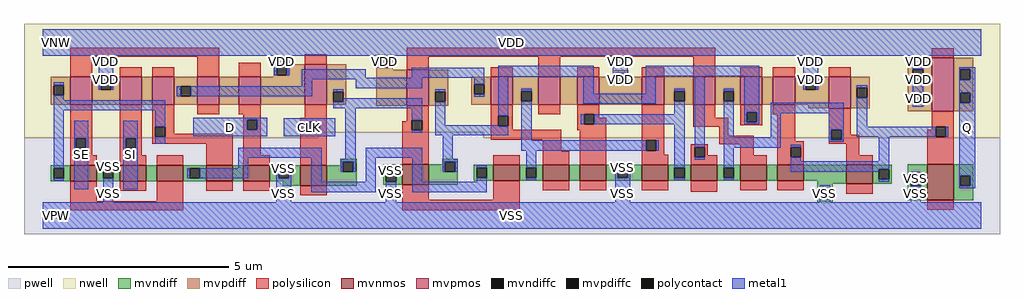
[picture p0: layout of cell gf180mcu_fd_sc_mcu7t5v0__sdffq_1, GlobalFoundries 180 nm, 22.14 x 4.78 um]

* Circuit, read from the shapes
.subckt gf180mcu_fd_sc_mcu7t5v0__sdffq_1 D SE SI CLK Q VDD VNW VPW VSS
XM1 VSS SE n1 VPW nfet_06v0 w=0.36u l=0.6u
XM2 n2 SI VSS VPW nfet_06v0 w=0.36u l=0.6u
XM3 n3 SE n2 VPW nfet_06v0 w=0.36u l=0.6u
XM4 n4 n1 n3 VPW nfet_06v0 w=0.36u l=0.6u
XM5 VSS D n4 VPW nfet_06v0 w=0.36u l=0.6u
XM6 n5 CLK VSS VPW nfet_06v0 w=0.465u l=0.6u
XM7 n6 n5 VSS VPW nfet_06v0 w=0.465u l=0.6u
XM8 n7 n5 n3 VPW nfet_06v0 w=0.36u l=0.6u
XM9 n8 n6 n7 VPW nfet_06v0 w=0.36u l=0.6u
XM10 VSS n9 n8 VPW nfet_06v0 w=0.36u l=0.6u
XM11 n9 n7 VSS VPW nfet_06v0 w=0.36u l=0.6u
XM12 n10 n6 n9 VPW nfet_06v0 w=0.36u l=0.6u
XM13 n11 n5 n10 VPW nfet_06v0 w=0.36u l=0.6u
XM14 VSS n12 n11 VPW nfet_06v0 w=0.36u l=0.6u
XM15 n12 n10 VSS VPW nfet_06v0 w=0.435u l=0.6u
XM16 Q n12 VSS VPW nfet_06v0 w=0.815u l=0.6u
XM17 VDD SE n1 VNW pfet_06v0 w=0.63u l=0.5u
XM18 n13 SI VDD VNW pfet_06v0 w=0.63u l=0.5u
XM19 n14 n1 n13 VNW pfet_06v0 w=0.63u l=0.5u
XM20 n15 SE n14 VNW pfet_06v0 w=0.63u l=0.5u
XM21 VDD D n15 VNW pfet_06v0 w=0.63u l=0.5u
XM22 n5 CLK VDD VNW pfet_06v0 w=0.92u l=0.5u
XM23 n6 n5 VDD VNW pfet_06v0 w=0.815u l=0.5u
XM24 n7 n6 n14 VNW pfet_06v0 w=0.63u l=0.5u
XM25 n16 n5 n7 VNW pfet_06v0 w=0.63u l=0.5u
XM26 VDD n9 n16 VNW pfet_06v0 w=0.63u l=0.5u
XM27 n9 n7 VDD VNW pfet_06v0 w=0.63u l=0.51u
XM28 n10 n5 n9 VNW pfet_06v0 w=0.63u l=0.5u
XM29 n17 n6 n10 VNW pfet_06v0 w=0.63u l=0.5u
XM30 VDD n12 n17 VNW pfet_06v0 w=0.63u l=0.5u
XM31 n12 n10 VDD VNW pfet_06v0 w=0.705u l=0.5u
XM32 Q n12 VDD VNW pfet_06v0 w=1.215u l=0.5u
.ends

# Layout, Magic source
magic
tech gf180mcuD
magscale 1 10
<< nwell >>
rect -86 377 4342 870
rect -86 352 1249 377
rect 2000 352 4342 377
<< pwell >>
rect 1249 352 2000 377
rect -86 -86 4342 352
<< mvnmos >>
rect 124 156 244 228
rect 348 156 468 228
rect 516 156 636 228
rect 740 156 860 228
rect 908 156 1028 228
rect 1168 135 1288 228
rect 1631 139 1751 232
rect 2043 158 2163 230
rect 2267 158 2387 230
rect 2435 158 2555 230
rect 2716 158 2836 230
rect 2940 158 3060 230
rect 3164 158 3284 230
rect 3332 158 3452 230
rect 3644 143 3764 230
rect 4012 69 4132 232
<< mvpmos >>
rect 124 502 224 628
rect 348 502 448 628
rect 496 502 596 628
rect 700 502 800 628
rect 888 502 988 628
rect 1188 502 1288 686
rect 1651 497 1751 660
rect 2032 502 2132 628
rect 2246 502 2346 628
rect 2424 502 2524 628
rect 2716 502 2818 628
rect 2950 502 3050 628
rect 3164 502 3264 628
rect 3312 502 3412 628
rect 3564 487 3664 628
rect 4032 472 4132 715
<< mvndiff >>
rect 1348 244 1424 257
rect 1348 228 1361 244
rect 36 215 124 228
rect 36 169 49 215
rect 95 169 124 215
rect 36 156 124 169
rect 244 215 348 228
rect 244 169 273 215
rect 319 169 348 215
rect 244 156 348 169
rect 468 156 516 228
rect 636 215 740 228
rect 636 169 665 215
rect 711 169 740 215
rect 636 156 740 169
rect 860 156 908 228
rect 1028 215 1168 228
rect 1028 169 1070 215
rect 1116 169 1168 215
rect 1028 156 1168 169
rect 1088 135 1168 156
rect 1288 198 1361 228
rect 1407 198 1424 244
rect 1811 244 1883 257
rect 1811 232 1824 244
rect 1288 135 1424 198
rect 1543 198 1631 232
rect 1543 152 1556 198
rect 1602 152 1631 198
rect 1543 139 1631 152
rect 1751 198 1824 232
rect 1870 198 1883 244
rect 1751 139 1883 198
rect 1955 217 2043 230
rect 1955 171 1968 217
rect 2014 171 2043 217
rect 1955 158 2043 171
rect 2163 217 2267 230
rect 2163 171 2192 217
rect 2238 171 2267 217
rect 2163 158 2267 171
rect 2387 158 2435 230
rect 2555 217 2716 230
rect 2555 171 2607 217
rect 2653 171 2716 217
rect 2555 158 2716 171
rect 2836 217 2940 230
rect 2836 171 2865 217
rect 2911 171 2940 217
rect 2836 158 2940 171
rect 3060 217 3164 230
rect 3060 171 3089 217
rect 3135 171 3164 217
rect 3060 158 3164 171
rect 3284 158 3332 230
rect 3452 158 3644 230
rect 3512 143 3644 158
rect 3764 209 3852 230
rect 3764 163 3793 209
rect 3839 163 3852 209
rect 3764 143 3852 163
rect 3924 180 4012 232
rect 3512 119 3584 143
rect 3512 73 3525 119
rect 3571 73 3584 119
rect 3924 134 3937 180
rect 3983 134 4012 180
rect 3512 60 3584 73
rect 3924 69 4012 134
rect 4132 180 4220 232
rect 4132 134 4161 180
rect 4207 134 4220 180
rect 4132 69 4220 134
<< mvpdiff >>
rect 1048 686 1120 701
rect 1512 716 1586 729
rect 1048 682 1188 686
rect 1048 636 1061 682
rect 1107 636 1188 682
rect 1048 628 1188 636
rect 36 590 124 628
rect 36 544 49 590
rect 95 544 124 590
rect 36 502 124 544
rect 224 615 348 628
rect 224 569 263 615
rect 309 569 348 615
rect 224 502 348 569
rect 448 502 496 628
rect 596 587 700 628
rect 596 541 625 587
rect 671 541 700 587
rect 596 502 700 541
rect 800 502 888 628
rect 988 502 1188 628
rect 1288 561 1376 686
rect 1288 515 1317 561
rect 1363 515 1376 561
rect 1288 502 1376 515
rect 1512 670 1525 716
rect 1571 670 1586 716
rect 1512 660 1586 670
rect 1512 497 1651 660
rect 1751 561 1839 660
rect 2584 645 2656 658
rect 2584 628 2597 645
rect 1751 515 1780 561
rect 1826 515 1839 561
rect 1751 497 1839 515
rect 1944 595 2032 628
rect 1944 549 1957 595
rect 2003 549 2032 595
rect 1944 502 2032 549
rect 2132 563 2246 628
rect 2132 517 2171 563
rect 2217 517 2246 563
rect 2132 502 2246 517
rect 2346 502 2424 628
rect 2524 599 2597 628
rect 2643 628 2656 645
rect 3924 662 4032 715
rect 2643 599 2716 628
rect 2524 502 2716 599
rect 2818 563 2950 628
rect 2818 517 2865 563
rect 2911 517 2950 563
rect 2818 502 2950 517
rect 3050 563 3164 628
rect 3050 517 3089 563
rect 3135 517 3164 563
rect 3050 502 3164 517
rect 3264 502 3312 628
rect 3412 615 3564 628
rect 3412 569 3461 615
rect 3507 569 3564 615
rect 3412 502 3564 569
rect 3472 487 3564 502
rect 3664 579 3752 628
rect 3664 533 3693 579
rect 3739 533 3752 579
rect 3664 487 3752 533
rect 3924 616 3947 662
rect 3993 616 4032 662
rect 3924 557 4032 616
rect 3924 511 3947 557
rect 3993 511 4032 557
rect 3924 472 4032 511
rect 4132 662 4220 715
rect 4132 616 4161 662
rect 4207 616 4220 662
rect 4132 557 4220 616
rect 4132 511 4161 557
rect 4207 511 4220 557
rect 4132 472 4220 511
<< mvndiffc >>
rect 49 169 95 215
rect 273 169 319 215
rect 665 169 711 215
rect 1070 169 1116 215
rect 1361 198 1407 244
rect 1556 152 1602 198
rect 1824 198 1870 244
rect 1968 171 2014 217
rect 2192 171 2238 217
rect 2607 171 2653 217
rect 2865 171 2911 217
rect 3089 171 3135 217
rect 3793 163 3839 209
rect 3525 73 3571 119
rect 3937 134 3983 180
rect 4161 134 4207 180
<< mvpdiffc >>
rect 1061 636 1107 682
rect 49 544 95 590
rect 263 569 309 615
rect 625 541 671 587
rect 1317 515 1363 561
rect 1525 670 1571 716
rect 1780 515 1826 561
rect 1957 549 2003 595
rect 2171 517 2217 563
rect 2597 599 2643 645
rect 2865 517 2911 563
rect 3089 517 3135 563
rect 3461 569 3507 615
rect 3693 533 3739 579
rect 3947 616 3993 662
rect 3947 511 3993 557
rect 4161 616 4207 662
rect 4161 511 4207 557
<< polysilicon >>
rect 124 720 800 760
rect 124 628 224 720
rect 348 628 448 672
rect 496 628 596 672
rect 700 628 800 720
rect 888 628 988 692
rect 1188 686 1288 730
rect 1651 720 3050 760
rect 1651 660 1751 720
rect 124 351 224 502
rect 124 305 149 351
rect 195 305 224 351
rect 124 272 224 305
rect 348 351 448 502
rect 348 305 375 351
rect 421 305 448 351
rect 496 403 596 502
rect 700 458 800 502
rect 888 458 988 502
rect 496 357 509 403
rect 555 371 596 403
rect 908 434 988 458
rect 1188 442 1288 502
rect 2032 628 2132 672
rect 2246 628 2346 720
rect 2424 628 2524 672
rect 2716 628 2818 672
rect 2950 628 3050 720
rect 4032 715 4132 759
rect 3164 628 3264 672
rect 3312 628 3412 672
rect 3564 628 3664 672
rect 908 388 926 434
rect 972 388 988 434
rect 555 357 860 371
rect 496 325 860 357
rect 348 272 448 305
rect 124 228 244 272
rect 348 228 468 272
rect 516 228 636 272
rect 740 228 860 325
rect 908 272 988 388
rect 1168 424 1288 442
rect 1651 432 1751 497
rect 1651 427 1674 432
rect 1168 378 1209 424
rect 1255 378 1288 424
rect 908 228 1028 272
rect 1168 228 1288 378
rect 1631 386 1674 427
rect 1720 386 1751 432
rect 124 64 244 156
rect 348 112 468 156
rect 516 64 636 156
rect 740 112 860 156
rect 908 112 1028 156
rect 1631 232 1751 386
rect 2032 451 2132 502
rect 2246 458 2346 502
rect 2424 460 2524 502
rect 2032 405 2065 451
rect 2111 405 2132 451
rect 2032 389 2132 405
rect 2424 414 2455 460
rect 2501 442 2524 460
rect 2501 414 2555 442
rect 2032 343 2352 389
rect 2424 386 2555 414
rect 2267 292 2352 343
rect 2043 230 2163 274
rect 2267 230 2387 292
rect 2435 230 2555 386
rect 2716 340 2818 502
rect 2950 442 3050 502
rect 3164 469 3264 502
rect 2950 402 3109 442
rect 3164 423 3192 469
rect 3238 423 3264 469
rect 3312 458 3412 502
rect 3164 410 3264 423
rect 2716 294 2736 340
rect 2782 294 2818 340
rect 3068 362 3109 402
rect 3068 322 3224 362
rect 2716 276 2818 294
rect 2940 309 3016 322
rect 2716 230 2836 276
rect 2940 263 2957 309
rect 3003 274 3016 309
rect 3164 274 3224 322
rect 3332 337 3412 458
rect 3564 389 3664 487
rect 4032 402 4132 472
rect 4032 389 4051 402
rect 3564 343 3577 389
rect 3623 365 3664 389
rect 3623 343 3704 365
rect 3332 309 3452 337
rect 3564 325 3704 343
rect 3003 263 3060 274
rect 2940 230 3060 263
rect 3164 230 3284 274
rect 3332 263 3393 309
rect 3439 263 3452 309
rect 3332 230 3452 263
rect 3644 274 3704 325
rect 4012 356 4051 389
rect 4097 356 4132 402
rect 3644 230 3764 274
rect 4012 232 4132 356
rect 1168 91 1288 135
rect 124 24 636 64
rect 1631 70 1751 139
rect 2043 70 2163 158
rect 2267 114 2387 158
rect 2435 114 2555 158
rect 2716 114 2836 158
rect 2940 107 3060 158
rect 3164 114 3284 158
rect 3332 114 3452 158
rect 1631 24 2163 70
rect 3644 99 3764 143
rect 4012 25 4132 69
<< polycontact >>
rect 149 305 195 351
rect 375 305 421 351
rect 509 357 555 403
rect 926 388 972 434
rect 1209 378 1255 424
rect 1674 386 1720 432
rect 2065 405 2111 451
rect 2455 414 2501 460
rect 3192 423 3238 469
rect 2736 294 2782 340
rect 2957 263 3003 309
rect 3577 343 3623 389
rect 3393 263 3439 309
rect 4051 356 4097 402
<< metal1 >>
rect 0 724 4256 844
rect 252 615 320 724
rect 1050 682 1118 724
rect 1050 636 1061 682
rect 1107 636 1118 682
rect 1514 716 1582 724
rect 1514 670 1525 716
rect 1571 670 1582 716
rect 49 590 95 603
rect 252 569 263 615
rect 309 569 320 615
rect 1175 624 1464 664
rect 1674 624 2003 670
rect 1175 618 1720 624
rect 1175 587 1221 618
rect 49 523 95 544
rect 606 541 625 587
rect 671 541 1221 587
rect 1418 578 1720 618
rect 1957 595 2003 624
rect 1317 561 1363 572
rect 49 477 555 523
rect 1780 561 1826 572
rect 1363 515 1720 532
rect 1317 486 1720 515
rect 49 215 95 477
rect 49 158 95 169
rect 141 351 206 430
rect 141 305 149 351
rect 195 305 206 351
rect 141 119 206 305
rect 365 351 430 430
rect 365 305 375 351
rect 421 305 430 351
rect 509 403 555 477
rect 682 434 1017 443
rect 682 388 926 434
rect 972 388 1017 434
rect 682 359 1017 388
rect 1093 424 1326 440
rect 1093 378 1209 424
rect 1255 378 1326 424
rect 1093 359 1326 378
rect 509 325 555 357
rect 273 215 319 228
rect 273 60 319 169
rect 365 119 430 305
rect 885 261 1264 307
rect 885 215 931 261
rect 654 169 665 215
rect 711 169 931 215
rect 1059 169 1070 215
rect 1116 169 1127 215
rect 1059 60 1127 169
rect 1218 152 1264 261
rect 1372 255 1418 486
rect 1674 432 1720 486
rect 1674 375 1720 386
rect 1957 538 2003 549
rect 2065 630 2498 678
rect 1780 410 1826 515
rect 2065 451 2111 630
rect 1780 405 2065 410
rect 1780 364 2111 405
rect 2171 563 2217 574
rect 1350 244 1418 255
rect 1350 198 1361 244
rect 1407 198 1418 244
rect 1464 261 1721 307
rect 1464 152 1510 261
rect 1218 106 1510 152
rect 1556 198 1602 209
rect 1556 60 1602 152
rect 1675 152 1721 261
rect 1813 255 1859 364
rect 2171 340 2217 517
rect 2452 553 2498 630
rect 2586 645 2654 724
rect 2586 599 2597 645
rect 2643 599 2654 645
rect 2734 632 3249 678
rect 2734 553 2780 632
rect 2452 506 2780 553
rect 2865 563 2911 574
rect 2865 460 2911 517
rect 2440 414 2455 460
rect 2501 414 2911 460
rect 2171 294 2736 340
rect 2782 294 2793 340
rect 1813 244 1881 255
rect 1813 198 1824 244
rect 1870 198 1881 244
rect 1968 217 2014 228
rect 1968 152 2014 171
rect 2192 217 2238 294
rect 2865 217 2911 414
rect 2957 309 3003 632
rect 2957 252 3003 263
rect 3089 563 3135 574
rect 3089 355 3135 517
rect 3181 469 3249 632
rect 3450 615 3518 724
rect 3450 569 3461 615
rect 3507 569 3518 615
rect 3947 662 3993 724
rect 3693 579 3739 590
rect 3181 423 3192 469
rect 3238 423 3249 469
rect 3181 414 3249 423
rect 3301 463 3634 510
rect 3301 355 3347 463
rect 3089 308 3347 355
rect 3566 389 3634 463
rect 3566 343 3577 389
rect 3623 343 3634 389
rect 3693 402 3739 533
rect 3947 557 3993 616
rect 3947 492 3993 511
rect 4158 662 4230 673
rect 4158 616 4161 662
rect 4207 616 4230 662
rect 4158 557 4230 616
rect 4158 511 4161 557
rect 4207 511 4230 557
rect 3693 356 4051 402
rect 4097 356 4108 402
rect 3566 334 3634 343
rect 3393 309 3439 320
rect 2192 160 2238 171
rect 2596 171 2607 217
rect 2653 171 2664 217
rect 1675 106 2014 152
rect 2596 60 2664 171
rect 2865 160 2911 171
rect 3089 217 3135 308
rect 3393 246 3439 263
rect 3793 246 3839 356
rect 3393 209 3839 246
rect 3393 199 3793 209
rect 3089 160 3135 171
rect 3793 152 3839 163
rect 3937 180 3983 199
rect 3525 119 3571 136
rect 3525 60 3571 73
rect 3937 60 3983 134
rect 4158 180 4230 511
rect 4158 134 4161 180
rect 4207 134 4230 180
rect 4158 123 4230 134
rect 0 -60 4256 60
<< labels >>
flabel metal1 s 4158 123 4230 673 0 FreeSans 400 0 0 0 Q
port 5 nsew default output
flabel metal1 s 141 119 206 430 0 FreeSans 400 0 0 0 SE
port 2 nsew default input
flabel metal1 s 365 119 430 430 0 FreeSans 400 0 0 0 SI
port 3 nsew default input
flabel metal1 s 0 724 4256 844 0 FreeSans 400 0 0 0 VDD
port 6 nsew power bidirectional abutment
flabel metal1 s 273 217 319 228 0 FreeSans 400 0 0 0 VSS
port 9 nsew ground bidirectional abutment
flabel metal1 s 1093 359 1326 440 0 FreeSans 400 0 0 0 CLK
port 4 nsew clock input
flabel metal1 s 682 359 1017 443 0 FreeSans 400 0 0 0 D
port 1 nsew default input
flabel nwell s 10 734 110 834 0 FreeSans 400 0 0 0 VNW
port 7 nsew power bidirectional
flabel pwell s 10 -50 110 50 0 FreeSans 400 0 0 0 VPW
port 8 nsew ground bidirectional
rlabel metal1 s 3947 670 3993 724 1 VDD
port 6 nsew power bidirectional abutment
rlabel metal1 s 3450 670 3518 724 1 VDD
port 6 nsew power bidirectional abutment
rlabel metal1 s 2586 670 2654 724 1 VDD
port 6 nsew power bidirectional abutment
rlabel metal1 s 1514 670 1582 724 1 VDD
port 6 nsew power bidirectional abutment
rlabel metal1 s 1050 670 1118 724 1 VDD
port 6 nsew power bidirectional abutment
rlabel metal1 s 252 670 320 724 1 VDD
port 6 nsew power bidirectional abutment
rlabel metal1 s 3947 636 3993 670 1 VDD
port 6 nsew power bidirectional abutment
rlabel metal1 s 3450 636 3518 670 1 VDD
port 6 nsew power bidirectional abutment
rlabel metal1 s 2586 636 2654 670 1 VDD
port 6 nsew power bidirectional abutment
rlabel metal1 s 1050 636 1118 670 1 VDD
port 6 nsew power bidirectional abutment
rlabel metal1 s 252 636 320 670 1 VDD
port 6 nsew power bidirectional abutment
rlabel metal1 s 3947 599 3993 636 1 VDD
port 6 nsew power bidirectional abutment
rlabel metal1 s 3450 599 3518 636 1 VDD
port 6 nsew power bidirectional abutment
rlabel metal1 s 2586 599 2654 636 1 VDD
port 6 nsew power bidirectional abutment
rlabel metal1 s 252 599 320 636 1 VDD
port 6 nsew power bidirectional abutment
rlabel metal1 s 3947 569 3993 599 1 VDD
port 6 nsew power bidirectional abutment
rlabel metal1 s 3450 569 3518 599 1 VDD
port 6 nsew power bidirectional abutment
rlabel metal1 s 252 569 320 599 1 VDD
port 6 nsew power bidirectional abutment
rlabel metal1 s 3947 492 3993 569 1 VDD
port 6 nsew power bidirectional abutment
rlabel metal1 s 2596 215 2664 217 1 VSS
port 9 nsew ground bidirectional abutment
rlabel metal1 s 273 215 319 217 1 VSS
port 9 nsew ground bidirectional abutment
rlabel metal1 s 2596 209 2664 215 1 VSS
port 9 nsew ground bidirectional abutment
rlabel metal1 s 1059 209 1127 215 1 VSS
port 9 nsew ground bidirectional abutment
rlabel metal1 s 273 209 319 215 1 VSS
port 9 nsew ground bidirectional abutment
rlabel metal1 s 2596 199 2664 209 1 VSS
port 9 nsew ground bidirectional abutment
rlabel metal1 s 1556 199 1602 209 1 VSS
port 9 nsew ground bidirectional abutment
rlabel metal1 s 1059 199 1127 209 1 VSS
port 9 nsew ground bidirectional abutment
rlabel metal1 s 273 199 319 209 1 VSS
port 9 nsew ground bidirectional abutment
rlabel metal1 s 3937 136 3983 199 1 VSS
port 9 nsew ground bidirectional abutment
rlabel metal1 s 2596 136 2664 199 1 VSS
port 9 nsew ground bidirectional abutment
rlabel metal1 s 1556 136 1602 199 1 VSS
port 9 nsew ground bidirectional abutment
rlabel metal1 s 1059 136 1127 199 1 VSS
port 9 nsew ground bidirectional abutment
rlabel metal1 s 273 136 319 199 1 VSS
port 9 nsew ground bidirectional abutment
rlabel metal1 s 3937 60 3983 136 1 VSS
port 9 nsew ground bidirectional abutment
rlabel metal1 s 3525 60 3571 136 1 VSS
port 9 nsew ground bidirectional abutment
rlabel metal1 s 2596 60 2664 136 1 VSS
port 9 nsew ground bidirectional abutment
rlabel metal1 s 1556 60 1602 136 1 VSS
port 9 nsew ground bidirectional abutment
rlabel metal1 s 1059 60 1127 136 1 VSS
port 9 nsew ground bidirectional abutment
rlabel metal1 s 273 60 319 136 1 VSS
port 9 nsew ground bidirectional abutment
rlabel metal1 s 0 -60 4256 60 1 VSS
port 9 nsew ground bidirectional abutment
<< properties >>
string FIXED_BBOX 0 0 4256 784
string GDS_END 191330
string GDS_FILE $PDKPATH/libs.ref/gf180mcu_fd_sc_mcu7t5v0/gds/gf180mcu_fd_sc_mcu7t5v0.gds
string GDS_START 182370
string LEFclass core
string LEFsite GF018hv5v_mcu_sc7
string LEFsymmetry X Y
<< end >>
